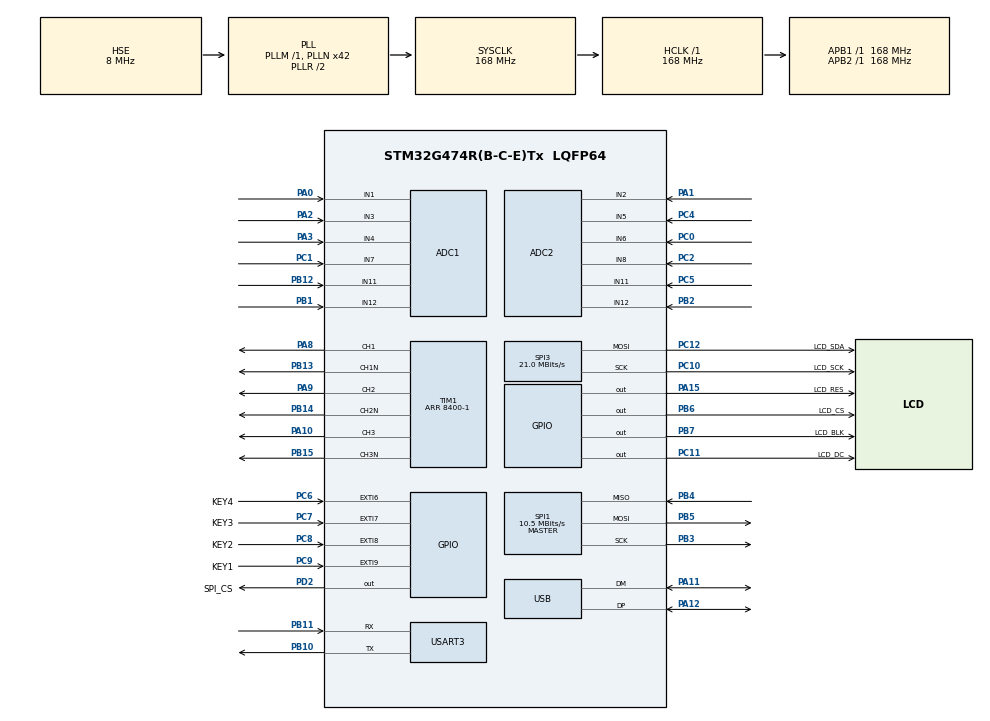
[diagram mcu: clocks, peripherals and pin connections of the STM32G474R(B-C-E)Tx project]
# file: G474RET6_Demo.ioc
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ADC1.Channel-0\#ChannelRegularConversion=ADC_CHANNEL_3
ADC1.Channel-1\#ChannelRegularConversion=ADC_CHANNEL_1
ADC1.Channel-2\#ChannelRegularConversion=ADC_CHANNEL_4
ADC1.Channel-3\#ChannelRegularConversion=ADC_CHANNEL_7
ADC1.Channel-4\#ChannelRegularConversion=ADC_CHANNEL_12
ADC1.Channel-5\#ChannelRegularConversion=ADC_CHANNEL_11
ADC1.ClockPrescaler=ADC_CLOCK_ASYNC_DIV4
ADC1.ContinuousConvMode=DISABLE
ADC1.DMAAccessModeView=ENABLE
ADC1.DMAContinuousRequests=ENABLE
ADC1.ExternalTrigConv=ADC_EXTERNALTRIG_T2_CC2
ADC1.ExternalTrigConvEdge=ADC_EXTERNALTRIGCONVEDGE_FALLING
ADC1.Mode=ADC_DUALMODE_REGSIMULT
ADC1.NbrOfConversion=6
ADC1.NbrOfConversionFlag=1
ADC1.OffsetNumber-0\#ChannelRegularConversion=ADC_OFFSET_NONE
ADC1.OffsetNumber-1\#ChannelRegularConversion=ADC_OFFSET_NONE
ADC1.OffsetNumber-2\#ChannelRegularConversion=ADC_OFFSET_NONE
ADC1.OffsetNumber-3\#ChannelRegularConversion=ADC_OFFSET_NONE
ADC1.OffsetNumber-4\#ChannelRegularConversion=ADC_OFFSET_NONE
ADC1.OffsetNumber-5\#ChannelRegularConversion=ADC_OFFSET_NONE
ADC1.Rank-0\#ChannelRegularConversion=1
ADC1.Rank-1\#ChannelRegularConversion=2
ADC1.Rank-2\#ChannelRegularConversion=3
ADC1.Rank-3\#ChannelRegularConversion=4
ADC1.Rank-4\#ChannelRegularConversion=5
ADC1.Rank-5\#ChannelRegularConversion=6
ADC1.SamplingTime-0\#ChannelRegularConversion=ADC_SAMPLETIME_2CYCLES_5
ADC1.SamplingTime-1\#ChannelRegularConversion=ADC_SAMPLETIME_2CYCLES_5
ADC1.SamplingTime-2\#ChannelRegularConversion=ADC_SAMPLETIME_2CYCLES_5
ADC1.SamplingTime-3\#ChannelRegularConversion=ADC_SAMPLETIME_2CYCLES_5
ADC1.SamplingTime-4\#ChannelRegularConversion=ADC_SAMPLETIME_2CYCLES_5
ADC1.SamplingTime-5\#ChannelRegularConversion=ADC_SAMPLETIME_2CYCLES_5
ADC1.TwoSamplingDelay=ADC_TWOSAMPLINGDELAY_2CYCLES
ADC1.master=1
ADC2.Channel-0\#ChannelRegularConversion=ADC_CHANNEL_2
ADC2.Channel-1\#ChannelRegularConversion=ADC_CHANNEL_11
ADC2.Channel-2\#ChannelRegularConversion=ADC_CHANNEL_6
ADC2.Channel-3\#ChannelRegularConversion=ADC_CHANNEL_8
ADC2.Channel-4\#ChannelRegularConversion=ADC_CHANNEL_12
ADC2.Channel-5\#ChannelRegularConversion=ADC_CHANNEL_5
ADC2.ClockPrescaler=ADC_CLOCK_ASYNC_DIV4
ADC2.DMAAccessModeView=ENABLE
ADC2.DMAContinuousRequests=DISABLE
ADC2.Mode=ADC_DUALMODE_REGSIMULT
ADC2.NbrOfConversion=6
ADC2.NbrOfConversionFlag=1
ADC2.OffsetNumber-0\#ChannelRegularConversion=ADC_OFFSET_NONE
ADC2.OffsetNumber-1\#ChannelRegularConversion=ADC_OFFSET_NONE
ADC2.OffsetNumber-2\#ChannelRegularConversion=ADC_OFFSET_NONE
ADC2.OffsetNumber-3\#ChannelRegularConversion=ADC_OFFSET_NONE
ADC2.OffsetNumber-4\#ChannelRegularConversion=ADC_OFFSET_NONE
ADC2.OffsetNumber-5\#ChannelRegularConversion=ADC_OFFSET_NONE
ADC2.Rank-0\#ChannelRegularConversion=1
ADC2.Rank-1\#ChannelRegularConversion=2
ADC2.Rank-2\#ChannelRegularConversion=3
ADC2.Rank-3\#ChannelRegularConversion=4
ADC2.Rank-4\#ChannelRegularConversion=5
ADC2.Rank-5\#ChannelRegularConversion=6
ADC2.SamplingTime-0\#ChannelRegularConversion=ADC_SAMPLETIME_2CYCLES_5
ADC2.SamplingTime-1\#ChannelRegularConversion=ADC_SAMPLETIME_2CYCLES_5
ADC2.SamplingTime-2\#ChannelRegularConversion=ADC_SAMPLETIME_2CYCLES_5
ADC2.SamplingTime-3\#ChannelRegularConversion=ADC_SAMPLETIME_2CYCLES_5
ADC2.SamplingTime-4\#ChannelRegularConversion=ADC_SAMPLETIME_2CYCLES_5
ADC2.SamplingTime-5\#ChannelRegularConversion=ADC_SAMPLETIME_2CYCLES_5
ADC2.TwoSamplingDelay=ADC_TWOSAMPLINGDELAY_2CYCLES
Dma.ADC1.0.Direction=DMA_PERIPH_TO_MEMORY
Dma.ADC1.0.EventEnable=DISABLE
Dma.ADC1.0.Instance=DMA1_Channel3
Dma.ADC1.0.MemDataAlignment=DMA_MDATAALIGN_WORD
Dma.ADC1.0.MemInc=DMA_MINC_ENABLE
Dma.ADC1.0.Mode=DMA_CIRCULAR
Dma.ADC1.0.PeriphDataAlignment=DMA_PDATAALIGN_WORD
Dma.ADC1.0.PeriphInc=DMA_PINC_DISABLE
Dma.ADC1.0.Polarity=HAL_DMAMUX_REQ_GEN_RISING
Dma.ADC1.0.Priority=DMA_PRIORITY_HIGH
Dma.ADC1.0.RequestNumber=1
Dma.ADC1.0.SignalID=NONE
Dma.ADC1.0.SyncEnable=DISABLE
Dma.ADC1.0.SyncPolarity=HAL_DMAMUX_SYNC_NO_EVENT
Dma.ADC1.0.SyncRequestNumber=1
Dma.ADC1.0.SyncSignalID=NONE
Dma.Request0=ADC1
Dma.Request1=USART3_TX
Dma.Request2=USART3_RX
Dma.USART3_RX.2.Direction=DMA_PERIPH_TO_MEMORY
Dma.USART3_RX.2.EventEnable=DISABLE
Dma.USART3_RX.2.Instance=DMA1_Channel2
Dma.USART3_RX.2.MemDataAlignment=DMA_MDATAALIGN_BYTE
Dma.USART3_RX.2.MemInc=DMA_MINC_ENABLE
Dma.USART3_RX.2.Mode=DMA_NORMAL
Dma.USART3_RX.2.PeriphDataAlignment=DMA_PDATAALIGN_BYTE
Dma.USART3_RX.2.PeriphInc=DMA_PINC_DISABLE
Dma.USART3_RX.2.Polarity=HAL_DMAMUX_REQ_GEN_RISING
Dma.USART3_RX.2.Priority=DMA_PRIORITY_LOW
Dma.USART3_RX.2.RequestNumber=1
Dma.USART3_RX.2.SignalID=NONE
Dma.USART3_RX.2.SyncEnable=DISABLE
Dma.USART3_RX.2.SyncPolarity=HAL_DMAMUX_SYNC_NO_EVENT
Dma.USART3_RX.2.SyncRequestNumber=1
Dma.USART3_RX.2.SyncSignalID=NONE
Dma.USART3_TX.1.Direction=DMA_MEMORY_TO_PERIPH
Dma.USART3_TX.1.EventEnable=DISABLE
Dma.USART3_TX.1.Instance=DMA1_Channel1
Dma.USART3_TX.1.MemDataAlignment=DMA_MDATAALIGN_BYTE
Dma.USART3_TX.1.MemInc=DMA_MINC_ENABLE
Dma.USART3_TX.1.Mode=DMA_NORMAL
Dma.USART3_TX.1.PeriphDataAlignment=DMA_PDATAALIGN_BYTE
Dma.USART3_TX.1.PeriphInc=DMA_PINC_DISABLE
Dma.USART3_TX.1.Polarity=HAL_DMAMUX_REQ_GEN_RISING
Dma.USART3_TX.1.Priority=DMA_PRIORITY_LOW
Dma.USART3_TX.1.RequestNumber=1
Dma.USART3_TX.1.SignalID=NONE
Dma.USART3_TX.1.SyncEnable=DISABLE
Dma.USART3_TX.1.SyncPolarity=HAL_DMAMUX_SYNC_NO_EVENT
Dma.USART3_TX.1.SyncRequestNumber=1
Dma.USART3_TX.1.SyncSignalID=NONE
FREERTOS.Tasks01=defaultTask,24,128,StartDefaultTask,Default,NULL,Dynamic,NULL,NULL
FREERTOS.configCHECK_FOR_STACK_OVERFLOW=1
FREERTOS.configGENERATE_RUN_TIME_STATS=0
FREERTOS.configTOTAL_HEAP_SIZE=15360
FREERTOS.configUSE_STATS_FORMATTING_FUNCTIONS=1
Mcu.Family=STM32G4
Mcu.Name=STM32G474R(B-C-E)Tx
Mcu.Package=LQFP64
NVIC.DMA1_Channel1_IRQn=true\:5\:0\:false\:false\:true\:false\:false\:true\:true
NVIC.DMA1_Channel2_IRQn=true\:5\:0\:false\:false\:true\:false\:false\:true\:true
NVIC.DMA1_Channel3_IRQn=true\:5\:0\:false\:false\:true\:false\:false\:true\:true
NVIC.EXTI9_5_IRQn=true\:5\:0\:true\:false\:true\:true\:true\:true\:true
NVIC.PriorityGroup=NVIC_PRIORITYGROUP_4
NVIC.TIM6_DAC_IRQn=true\:15\:0\:false\:false\:true\:false\:false\:true\:true
NVIC.TimeBase=TIM6_DAC_IRQn
NVIC.TimeBaseIP=TIM6
NVIC.USART3_IRQn=true\:5\:0\:false\:false\:true\:true\:true\:true\:true
NVIC.USB_LP_IRQn=true\:5\:0\:true\:false\:true\:true\:false\:true\:true
PA0.Mode=IN1-Single-Ended
PA0.Signal=ADC1_IN1
PA1.Mode=IN2-Single-Ended
PA1.Signal=ADC2_IN2
PA10.Signal=S_TIM1_CH3
PA11.Mode=Device
PA11.Signal=USB_DM
PA12.Mode=Device
PA12.Signal=USB_DP
PA13.Mode=Serial_Wire
PA13.Signal=SYS_JTMS-SWDIO
PA14.Mode=Serial_Wire
PA14.Signal=SYS_JTCK-SWCLK
PA15.GPIO_Label=LCD_RES
PA15.Signal=GPIO_Output
PA2.Mode=IN3-Single-Ended
PA2.Signal=ADC1_IN3
PA3.Mode=IN4-Single-Ended
PA3.Signal=ADC1_IN4
PA8.Signal=S_TIM1_CH1
PA9.Signal=S_TIM1_CH2
PB1.Mode=IN12-Single-Ended
PB1.Signal=ADC1_IN12
PB10.Mode=Asynchronous
PB10.Signal=USART3_TX
PB11.Mode=Asynchronous
PB11.Signal=USART3_RX
PB12.Mode=IN11-Single-Ended
PB12.Signal=ADC1_IN11
PB13.Mode=PWM Generation1 CH1 CH1N
PB13.Signal=TIM1_CH1N
PB14.Mode=PWM Generation2 CH2 CH2N
PB14.Signal=TIM1_CH2N
PB15.Mode=PWM Generation3 CH3 CH3N
PB15.Signal=TIM1_CH3N
PB2.Mode=IN12-Single-Ended
PB2.Signal=ADC2_IN12
PB3.Mode=Full_Duplex_Master
PB3.Signal=SPI1_SCK
PB4.Mode=Full_Duplex_Master
PB4.Signal=SPI1_MISO
PB5.Mode=Full_Duplex_Master
PB5.Signal=SPI1_MOSI
PB6.GPIO_FM6=__NULL
PB6.GPIO_Label=LCD_CS
PB6.Signal=GPIO_Output
PB7.GPIO_Label=LCD_BLK
PB7.Signal=GPIO_Output
PC0.Mode=IN6-Single-Ended
PC0.Signal=ADC2_IN6
PC1.Mode=IN7-Single-Ended
PC1.Signal=ADC1_IN7
PC10.GPIO_Label=LCD_SCK
PC10.Mode=TX_Only_Simplex_Unidirect_Master
PC10.Signal=SPI3_SCK
PC11.GPIO_Label=LCD_DC
PC11.Signal=GPIO_Output
PC12.GPIO_Label=LCD_SDA
PC12.Mode=TX_Only_Simplex_Unidirect_Master
PC12.Signal=SPI3_MOSI
PC2.Mode=IN8-Single-Ended
PC2.Signal=ADC2_IN8
PC4.Mode=IN5-Single-Ended
PC4.Signal=ADC2_IN5
PC5.Mode=IN11-Single-Ended
PC5.Signal=ADC2_IN11
PC6.GPIO_Label=KEY4
PC6.GPIO_ModeDefaultEXTI=GPIO_MODE_IT_FALLING
PC6.Signal=GPXTI6
PC7.GPIO_Label=KEY3
PC7.GPIO_ModeDefaultEXTI=GPIO_MODE_IT_FALLING
PC7.Signal=GPXTI7
PC8.GPIO_Label=KEY2
PC8.GPIO_ModeDefaultEXTI=GPIO_MODE_IT_FALLING
PC8.Signal=GPXTI8
PC9.GPIO_Label=KEY1
PC9.GPIO_ModeDefaultEXTI=GPIO_MODE_IT_FALLING
PC9.Signal=GPXTI9
PD2.GPIO_Label=SPI_CS
PD2.GPIO_PuPd=GPIO_PULLDOWN
PD2.GPIO_Speed=GPIO_SPEED_FREQ_MEDIUM
PD2.PinState=GPIO_PIN_RESET
PD2.Signal=GPIO_Output
PF0-OSC_IN.Mode=HSE-External-Oscillator
PF0-OSC_IN.Signal=RCC_OSC_IN
PF1-OSC_OUT.Mode=HSE-External-Oscillator
PF1-OSC_OUT.Signal=RCC_OSC_OUT
ProjectManager.HeapSize=0x200
ProjectManager.StackSize=0x400
ProjectManager.TargetToolchain=MDK-ARM V5.32
RCC.ADC12Freq_Value=168000000
RCC.ADC345Freq_Value=168000000
RCC.AHBFreq_Value=168000000
RCC.APB1Freq_Value=168000000
RCC.APB1TimFreq_Value=168000000
RCC.APB2Freq_Value=168000000
RCC.APB2TimFreq_Value=168000000
RCC.CK48CLockSelection=RCC_USBCLKSOURCE_HSI48
RCC.CortexFreq_Value=168000000
RCC.EXTERNAL_CLOCK_VALUE=12288000
RCC.HCLKFreq_Value=168000000
RCC.HSE_VALUE=8000000
RCC.HSI48_VALUE=48000000
RCC.HSI_VALUE=16000000
RCC.LSE_VALUE=32768
RCC.PLLN=42
RCC.PLLQ=RCC_PLLQ_DIV8
RCC.PLLSourceVirtual=RCC_PLLSOURCE_HSE
RCC.SYSCLKFreq_VALUE=168000000
RCC.SYSCLKSource=RCC_SYSCLKSOURCE_PLLCLK
RCC.USBFreq_Value=48000000
RCC.VCOOutputFreq_Value=336000000
SH.S_TIM1_CH1.0=TIM1_CH1,PWM Generation1 CH1 CH1N
SH.S_TIM1_CH2.0=TIM1_CH2,PWM Generation2 CH2 CH2N
SH.S_TIM1_CH3.0=TIM1_CH3,PWM Generation3 CH3 CH3N
SPI1.BaudRatePrescaler=SPI_BAUDRATEPRESCALER_16
SPI1.CLKPhase=SPI_PHASE_2EDGE
SPI1.CLKPolarity=SPI_POLARITY_HIGH
SPI1.CalculateBaudRate=10.5 MBits/s
SPI1.DataSize=SPI_DATASIZE_16BIT
SPI1.Direction=SPI_DIRECTION_2LINES
SPI1.Mode=SPI_MODE_MASTER
SPI1.VirtualType=VM_MASTER
SPI3.BaudRatePrescaler=SPI_BAUDRATEPRESCALER_8
SPI3.CLKPolarity=SPI_POLARITY_HIGH
SPI3.CalculateBaudRate=21.0 MBits/s
SPI3.DataSize=SPI_DATASIZE_8BIT
SPI3.Direction=SPI_DIRECTION_2LINES
SPI3.Mode=SPI_MODE_MASTER
SPI3.VirtualType=VM_MASTER
TIM1.Channel-PWM\ Generation1\ CH1\ CH1N=TIM_CHANNEL_1
TIM1.Channel-PWM\ Generation2\ CH2\ CH2N=TIM_CHANNEL_2
TIM1.Channel-PWM\ Generation3\ CH3\ CH3N=TIM_CHANNEL_3
TIM1.Channel-PWM\ Generation4\ No\ Output=TIM_CHANNEL_4
TIM1.CounterMode=TIM_COUNTERMODE_CENTERALIGNED1
TIM1.DeadTime=20
TIM1.OCIdleState_1=TIM_OCIDLESTATE_SET
TIM1.OCIdleState_2=TIM_OCIDLESTATE_SET
TIM1.OCIdleState_3=TIM_OCIDLESTATE_SET
TIM1.OCIdleState_4=TIM_OCIDLESTATE_SET
TIM1.OCNIdleState_1=TIM_OCNIDLESTATE_SET
TIM1.OCNIdleState_2=TIM_OCNIDLESTATE_SET
TIM1.OCNIdleState_3=TIM_OCNIDLESTATE_SET
TIM1.PeriodNoDither=8400-1
TIM1.PulseNoDither_4=8500-3
TIM1.TIM_MasterOutputTrigger=TIM_TRGO_UPDATE
TIM1.TIM_MasterSlaveMode=TIM_MASTERSLAVEMODE_ENABLE
TIM2.Channel-PWM\ Generation2\ No\ Output=TIM_CHANNEL_2
TIM2.PeriodNoDither=65535
TIM2.Prescaler=2-1
TIM2.PulseNoDither_2=2
TIM2.TIM_MasterSlaveMode=TIM_MASTERSLAVEMODE_DISABLE
USART3.VirtualMode-Asynchronous=VM_ASYNC
USB_DEVICE.CLASS_NAME_FS=CDC
USB_DEVICE.VirtualMode=Cdc
USB_DEVICE.VirtualModeFS=Cdc_FS
VP_FREERTOS_VS_CMSIS_V2.Mode=CMSIS_V2
VP_SYS_VS_DBSignals.Mode=DisableDeadBatterySignals
VP_SYS_VS_tim6.Mode=TIM6
VP_TIM1_VS_ClockSourceINT.Mode=Internal
VP_TIM1_VS_no_output4.Mode=PWM Generation4 No Output
VP_TIM2_VS_ClockSourceINT.Mode=Internal
VP_TIM2_VS_ClockSourceITR.Mode=TriggerSource_ITR0
VP_TIM2_VS_ControllerModeReset.Mode=Reset Mode
VP_TIM2_VS_no_output2.Mode=PWM Generation2 No Output
VP_USB_DEVICE_VS_USB_DEVICE_CDC_FS.Mode=CDC_FS
board=custom

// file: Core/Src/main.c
/* USER CODE BEGIN Header */
/**
  ******************************************************************************
  * @file           : main.c
  * @brief          : Main program body
  ******************************************************************************
  * @attention
  *
  * Copyright (c) 2024 STMicroelectronics.
  * All rights reserved.
  *
  * This software is licensed under terms that can be found in the LICENSE file
  * in the root directory of this software component.
  * If no LICENSE file comes with this software, it is provided AS-IS.
  *
  ******************************************************************************
  */
/* USER CODE END Header */
#include "main.h"
#include "cmsis_os.h"
#include "adc.h"
#include "dma.h"
#include "spi.h"
#include "tim.h"
#include "usart.h"
#include "usb_device.h"
#include "gpio.h"

/* USER CODE BEGIN Includes */
#include "hw.h"
#include "confgenerator.h"
#include "mcpwm_foc.h"
#include "usart_vofa.h"
#include "enc_mt6816.h"
#include "utils_math.h"
#include "timer.h"
#include "mc_interface.h"
#include "conf_general.h"
#include "eeprom_emul.h"
#include "app_freertos.h"

//#include "EventRecorder.h"
/* USER CODE END Includes */

/* USER CODE BEGIN PV */
extern DMA_HandleTypeDef hdma_adc1;

/* USER CODE END PV */

void SystemClock_Config(void);
void MX_FREERTOS_Init(void);

int main(void)
{

  /* MCU Configuration--------------------------------------------------------*/

  /* Reset of all peripherals, Initializes the Flash interface and the Systick. */
  HAL_Init();

  /* Configure the system clock */
  SystemClock_Config();

  /* USER CODE BEGIN SysInit */
//	EventRecorderInitialize(EventRecordAll, 1U);
//	EventRecorderStart();
  /* USER CODE END SysInit */

  /* Initialize all configured peripherals */
  MX_GPIO_Init();
  MX_DMA_Init();
  MX_ADC1_Init();
  MX_TIM1_Init();
  MX_TIM2_Init();
  MX_USART3_UART_Init();
  MX_ADC2_Init();
  MX_SPI1_Init();
  MX_SPI3_Init();
  /* USER CODE BEGIN 2 */
	timer_init();//TIM5初始化

	HAL_ADCEx_Calibration_Start(&hadc1,ADC_SINGLE_ENDED);
	HAL_ADCEx_Calibration_Start(&hadc2,ADC_SINGLE_ENDED);
	HAL_ADCEx_MultiModeStart_DMA(&hadc1,(uint32_t *)ADC_Value,6);

	__HAL_DMA_DISABLE_IT(&hdma_adc1, DMA_IT_HT);
//	__HAL_DMA_DISABLE_IT(&hdma_adc1, DMA_IT_TC);
	__HAL_DMA_DISABLE_IT(&hdma_adc1, DMA_IT_TE);

//	__HAL_UART_ENABLE_IT(&huart3, UART_IT_IDLE); //使能IDLE中断
//	HAL_UART_Receive_DMA(&huart3,RxBuffer,RXBUFFERSIZE);

  /* USER CODE END 2 */

  /* Init scheduler */
  osKernelInitialize();

  /* Call init function for freertos objects (in cmsis_os2.c) */
  MX_FREERTOS_Init();

  /* Start scheduler */
  osKernelStart();

  /* We should never get here as control is now taken by the scheduler */

  /* Infinite loop */
  while (1)
  {

  }
}

void SystemClock_Config(void)
{
  RCC_OscInitTypeDef RCC_OscInitStruct = {0};
  RCC_ClkInitTypeDef RCC_ClkInitStruct = {0};

  /** Configure the main internal regulator output voltage
  */
  HAL_PWREx_ControlVoltageScaling(PWR_REGULATOR_VOLTAGE_SCALE1_BOOST);

  /** Initializes the RCC Oscillators according to the specified parameters
  * in the RCC_OscInitTypeDef structure.
  */
  RCC_OscInitStruct.OscillatorType = RCC_OSCILLATORTYPE_HSI48|RCC_OSCILLATORTYPE_HSE;
  RCC_OscInitStruct.HSEState = RCC_HSE_ON;
  RCC_OscInitStruct.HSI48State = RCC_HSI48_ON;
  RCC_OscInitStruct.PLL.PLLState = RCC_PLL_ON;
  RCC_OscInitStruct.PLL.PLLSource = RCC_PLLSOURCE_HSE;
  RCC_OscInitStruct.PLL.PLLM = RCC_PLLM_DIV1;
  RCC_OscInitStruct.PLL.PLLN = 42;
  RCC_OscInitStruct.PLL.PLLP = RCC_PLLP_DIV2;
  RCC_OscInitStruct.PLL.PLLQ = RCC_PLLQ_DIV8;
  RCC_OscInitStruct.PLL.PLLR = RCC_PLLR_DIV2;
  if (HAL_RCC_OscConfig(&RCC_OscInitStruct) != HAL_OK)
  {
    Error_Handler();
  }

  /** Initializes the CPU, AHB and APB buses clocks
  */
  RCC_ClkInitStruct.ClockType = RCC_CLOCKTYPE_HCLK|RCC_CLOCKTYPE_SYSCLK
                              |RCC_CLOCKTYPE_PCLK1|RCC_CLOCKTYPE_PCLK2;
  RCC_ClkInitStruct.SYSCLKSource = RCC_SYSCLKSOURCE_PLLCLK;
  RCC_ClkInitStruct.AHBCLKDivider = RCC_SYSCLK_DIV1;
  RCC_ClkInitStruct.APB1CLKDivider = RCC_HCLK_DIV1;
  RCC_ClkInitStruct.APB2CLKDivider = RCC_HCLK_DIV1;

  if (HAL_RCC_ClockConfig(&RCC_ClkInitStruct, FLASH_LATENCY_4) != HAL_OK)
  {
    Error_Handler();
  }
}

void HAL_TIM_PeriodElapsedCallback(TIM_HandleTypeDef *htim)
{
  if (htim->Instance == TIM6) {
    HAL_IncTick();
  }
}

void Error_Handler(void)
{
  __disable_irq();
  while (1)
  {
  }
}

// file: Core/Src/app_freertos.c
/* USER CODE BEGIN Header */
/**
  ******************************************************************************
  * File Name          : app_freertos.c
  * Description        : Code for freertos applications
  ******************************************************************************
  * @attention
  *
  * Copyright (c) 2025 STMicroelectronics.
  * All rights reserved.
  *
  * This software is licensed under terms that can be found in the LICENSE file
  * in the root directory of this software component.
  * If no LICENSE file comes with this software, it is provided AS-IS.
  *
  ******************************************************************************
  */
/* USER CODE END Header */

#include "FreeRTOS.h"
#include "task.h"
#include "main.h"
#include "cmsis_os.h"

/* USER CODE BEGIN Includes */
#include "app_freertos.h"
#include "mcpwm_foc.h"
#include "usart_vofa.h"
#include "enc_mt6816.h"
#include "utils_math.h"
#include "timer.h"
#include "stdio.h"
#include "task.h"
#include "conf_general.h"
#include "mc_interface.h"
#include "terminal.h"
#include "commands.h"
#include "comm_usb.h"
#include "mempools.h"
#include "lcd.h"
/* USER CODE END Includes */

/* USER CODE BEGIN Variables */
uint8_t pcWriteBuffer[512];

osThreadId_t printTaskInfoId;
const osThreadAttr_t task_info_attributes = {
  .name = "printfTaskInfo",
  .priority = (osPriority_t) osPriorityNormal + 1,
  .stack_size = 128 * 4
};

osThreadId_t confgeneralTaskId;
const osThreadAttr_t confgeneralTask_attributes = {
  .name = "confgeneralTask",
  .priority = (osPriority_t) osPriorityNormal + 4,
  .stack_size = 256 * 4
};

osThreadId_t displayTaskId;
const osThreadAttr_t displayTask_attributes = {
  .name = "displayTask",
  .priority = (osPriority_t) osPriorityNormal,
  .stack_size = 256 * 4
};
uint16_t adc_input = 0;
uint32_t LCD_PAGE = 0;
/* USER CODE END Variables */
/* Definitions for defaultTask */
osThreadId_t defaultTaskHandle;
const osThreadAttr_t defaultTask_attributes = {
  .name = "defaultTask",
  .priority = (osPriority_t) osPriorityNormal,
  .stack_size = 128 * 4
};

/* USER CODE BEGIN FunctionPrototypes */
void printTaskInfo(osThreadId_t taskId);
void confgeneralTask(void *argument);
void managerTask(void *argument);
void displayTask(void *argument);
void LCD_ShowFloatS(uint16_t x,uint16_t y,float num,uint16_t fc,uint16_t bc,uint8_t sizey,uint8_t mode);
/* USER CODE END FunctionPrototypes */

void StartDefaultTask(void *argument);

void MX_FREERTOS_Init(void); /* (MISRA C 2004 rule 8.1) */

/* Hook prototypes */
void vApplicationStackOverflowHook(xTaskHandle xTask, signed char *pcTaskName);

/* USER CODE BEGIN 4 */
void vApplicationStackOverflowHook(xTaskHandle xTask, signed char *pcTaskName)
{
   /* Run time stack overflow checking is performed if
   configCHECK_FOR_STACK_OVERFLOW is defined to 1 or 2. This hook function is
   called if a stack overflow is detected. */
}
/* USER CODE END 4 */

void MX_FREERTOS_Init(void) {

  /* Create the thread(s) */
  /* creation of defaultTask */
  defaultTaskHandle = osThreadNew(StartDefaultTask, NULL, &defaultTask_attributes);

  /* USER CODE BEGIN RTOS_THREADS */
  /* add threads, ... */
//	mempools_init();
	conf_general_init();
	mc_interface_init();
	confgeneralTaskId = osThreadNew(confgeneralTask, NULL, &confgeneralTask_attributes);
	printTaskInfoId 	= osThreadNew(printTaskInfo, NULL, &task_info_attributes);
	displayTaskId 		= osThreadNew(displayTask, NULL, &displayTask_attributes);
//	commands_init();
//	comm_usb_init();
  /* USER CODE END RTOS_THREADS */

}

void StartDefaultTask(void *argument)
{
  /* init code for USB_Device */
  MX_USB_Device_Init();
  /* USER CODE BEGIN StartDefaultTask */

  /* Infinite loop */

//	osThreadFlagsWait(0x01,osFlagsWaitAny,osWaitForever);
  for(;;)
  {
//		osThreadFlagsWait(0x01,osFlagsWaitAny,osWaitForever);
		UTILS_LP_FAST(adc_input,ADC_Value[11],0.3f);

		if(m_motor_1.m_state == MC_STATE_RUNNING)
		{
			float duty = (4070.0f - adc_input) / 4070.0f;//* m_motor_1.m_conf->foc_encoder_ratio
			mcpwm_foc_set_duty(duty);
		}
//	float speed_set = (4070 - ADC_Value[11]) / 4070.0f * 8000.0f;
//	mcpwm_foc_set_pid_speed(speed_set);
//	timer_update((motor_all_state_t*)&m_motor_1,0.001f);
//	foc_run_pid_control_speed(1,0.001f,(motor_all_state_t*)&m_motor_1);

		float speed = RADPS2RPM_f(m_motor_1.m_pll_speed);

		vofa_send_data(0,TIM1->CCR1);
		vofa_send_data(1,TIM1->CCR2);
		vofa_send_data(2,TIM1->CCR3);
		vofa_send_data(3,TIM1->CNT);
		vofa_send_data(4,m_motor_1.m_motor_state.phase);
		vofa_send_data(5,m_motor_1.m_phase_now_encoder);
		vofa_send_data(6,m_motor_1.m_motor_state.id_target);
		vofa_send_data(7,m_motor_1.m_motor_state.id);
		vofa_send_data(8,m_motor_1.m_motor_state.iq_target);
		vofa_send_data(9,m_motor_1.m_motor_state.iq);
		vofa_send_data(10,m_motor_1.m_motor_state.vd);
		vofa_send_data(11,m_motor_1.m_motor_state.vq);
		vofa_send_data(12,speed);
//		vofa_send_data(13,m_motor_1.m_speed_pid_set_rpm);
//		vofa_send_data(14,m_motor_1.m_min_rpm_hyst_timer);
//		vofa_send_data(15,m_motor_1.m_phase_now_observer_override);
//		vofa_send_data(16,m_motor_1.m_phase_now_observer);
//		vofa_send_data(17,m_motor_1.m_motor_state.v_alpha);
//		vofa_send_data(18,m_motor_1.m_motor_state.v_beta);
//		vofa_send_data(19,m_motor_1.m_motor_state.va);
//		vofa_send_data(20,m_motor_1.m_motor_state.vb);
//		vofa_send_data(21,m_motor_1.m_motor_state.vc);
//		vofa_send_data(22,m_motor_1.m_observer_state.x1);
//		vofa_send_data(23,m_motor_1.m_observer_state.x2);
//		vofa_send_data(24,m_motor_1.m_currents_adc[0]);
//		vofa_send_data(25,m_motor_1.m_currents_adc[1]);
//		vofa_send_data(26,m_motor_1.m_currents_adc[2]);
//		vofa_send_data(27,ADC_curr_norm_value[0]);
//		vofa_send_data(28,ADC_curr_norm_value[1]);
//		vofa_send_data(29,ADC_curr_norm_value[2]);
//		vofa_send_data(30,ADC_Value[5]);
//		vofa_send_data(31,ADC_Value[6]);
//		vofa_send_data(32,ADC_Value[7]);
//		vofa_send_data(33,m_motor_1.m_motor_state.i_alpha);
//		vofa_send_data(34,m_motor_1.m_motor_state.i_beta);

//		osKernelLock();
		vofa_sendframetail();
//		osKernelUnlock();
    osDelay(1);
  }
  /* USER CODE END StartDefaultTask */
}

/* USER CODE BEGIN Application */
void printTaskInfo(void *argument)
{
/*
	X:running
	B:blockde
	R:ready
	D:deleted
	S:supended
*/
	for(;;){
		osThreadFlagsWait(0x01,osFlagsWaitAny,osWaitForever);
		vTaskList((char *)&pcWriteBuffer);
		usb_printf("Name   State    Priority   Size   Order\n");
		usb_printf("%s",pcWriteBuffer);
		osDelay(10);
		usb_printf("total free heap size:%d\n",xPortGetFreeHeapSize());
		osDelay(10);
	}

}

void displayTask(void *argument)
{
	LCD_Init();//LCD初始化
	LCD_Fill(0,0,LCD_W,LCD_H,BLACK);

	uint32_t old_flag = 0;
	for(;;)
	{
		if(old_flag != LCD_PAGE)
		{
			LCD_Fill(0,0,LCD_W,LCD_H,BLACK);
		}

		old_flag = LCD_PAGE;

		switch(LCD_PAGE)
		{
			case 1:
			{

				LCD_ShowString(10, 5,(uint8_t *)"[MOTOR]", GREEN, BLACK, 32, 0);

				LCD_DrawLine(10, 60, 10, 135, WHITE);
				LCD_DrawLine(230, 60, 230, 135, WHITE);

				LCD_ShowString(20, 60, (uint8_t *)"R       :", WHITE, BLACK, 16, 0);
				LCD_ShowString(20, 80, (uint8_t *)"L       :", WHITE, BLACK, 16, 0);
				LCD_ShowString(20, 100,(uint8_t *)"linkage :", WHITE, BLACK, 16, 0);
				LCD_ShowString(20, 120,(uint8_t *)"gamama  :", WHITE, BLACK, 16, 0);

				LCD_ShowFloatS(100, 60, m_motor_1.m_conf->foc_motor_r, GREEN, BLACK, 16, 0);
				LCD_ShowFloatS(100, 80, m_motor_1.m_conf->foc_motor_l, GREEN, BLACK, 16, 0);
				LCD_ShowFloatS(100, 100, m_motor_1.m_conf->foc_motor_flux_linkage, GREEN, BLACK, 16, 0);
				LCD_ShowFloatS(100, 120, m_motor_1.m_conf->foc_observer_gain, GREEN, BLACK, 16, 0);
				break;

				break;
			}
			default:
				if(m_motor_1.m_state == MC_STATE_OFF)
				{
					LCD_ShowString(10, 5,(uint8_t *)"[READY]", GREEN, BLACK, 32, 0);
				}else
				{
					LCD_ShowString(10, 5,(uint8_t *)"[ RUN ]", GREEN, BLACK, 32, 0);
				}

				LCD_ShowString(130, 5,(uint8_t *)"Vbus:", WHITE, BLACK, 16, 0);
				LCD_ShowFloatNum1(170, 5, m_motor_1.m_motor_state.v_bus, 3, 2, GREEN, BLACK, 16);
				LCD_ShowString(220, 5, (uint8_t *)"V", WHITE, BLACK, 16, 0);

				LCD_ShowString(130, 21,(uint8_t *)"Ibus:", WHITE, BLACK, 16, 0);
				LCD_ShowFloatNum1(170, 21, m_motor_1.m_motor_state.i_bus, 3, 2, GREEN, BLACK, 16);
				LCD_ShowString(220, 21, (uint8_t *)"A", WHITE, BLACK, 16, 0);

				LCD_ShowString(130, 37,(uint8_t *)"Tmos:", WHITE, BLACK, 16, 0);
				LCD_ShowFloatNum1(170, 37, 00.00, 3, 2, GREEN, BLACK, 16);
				LCD_ShowString(220, 37, (uint8_t *)"C", WHITE, BLACK, 16, 0);

				LCD_DrawLine(10, 60, 10, 135, WHITE);
				LCD_DrawLine(230, 60, 230, 135, WHITE);

				LCD_ShowString(20, 40, (uint8_t *)"Mode :", WHITE, BLACK, 16, 0);
				LCD_ShowString(20, 60, (uint8_t *)"Id.  :", WHITE, BLACK, 16, 0);
				LCD_ShowString(20, 80, (uint8_t *)"Iq.  :", WHITE, BLACK, 16, 0);
				LCD_ShowString(20, 100,(uint8_t *)"Duty :", WHITE, BLACK, 16, 0);
				LCD_ShowString(20, 120,(uint8_t *)"Erpm :", WHITE, BLACK, 16, 0);

				LCD_ShowString(76, 40, (uint8_t *)"[Duty]", WHITE, BLACK, 16, 0);

				LCD_ShowFloatNum(68, 60, m_motor_1.m_motor_state.id_target, 3, 2, BRRED, BLACK, 16);
				LCD_ShowString(124, 60, (uint8_t *)"->", WHITE, BLACK, 16, 0);
				LCD_ShowFloatNum(140, 60, m_motor_1.m_motor_state.id, 3, 2, GREEN, BLACK, 16);
				LCD_ShowString(196, 60, (uint8_t *)"A", WHITE, BLACK, 16, 0);

				LCD_ShowFloatNum(68, 80, m_motor_1.m_motor_state.iq_target, 3, 2, GREEN, BLACK, 16);
				LCD_ShowString(124, 80, (uint8_t *)"->", WHITE, BLACK, 16, 0);
				LCD_ShowFloatNum(140, 80,m_motor_1.m_motor_state.iq, 3, 2, GREEN, BLACK, 16);
				LCD_ShowString(196, 80, (uint8_t *)"A", WHITE, BLACK, 16, 0);

				LCD_ShowFloatNum(68, 100, m_motor_1.m_duty_cycle_set * 100, 3, 2, GREEN, BLACK, 16);
				LCD_ShowString(124, 100, (uint8_t *)"->", WHITE, BLACK, 16, 0);
				LCD_ShowFloatNum(140, 100, m_motor_1.m_motor_state.duty_now * 100, 3, 2, GREEN, BLACK, 16);
				LCD_ShowString(196, 100, (uint8_t *)"%", WHITE, BLACK, 16, 0);

				LCD_ShowFloatS(70, 120, m_motor_1.m_pll_speed, GREEN, BLACK, 16, 0);
				LCD_ShowString(196, 120, (uint8_t *)"r/s", WHITE, BLACK, 16, 0);
				break;
		}

		osDelay(10);
	}

}

void confgeneralTask(void *argument)
{
	for(;;)
	{
		osThreadFlagsWait(0x01,osFlagsWaitAny,osWaitForever);
		osThreadSuspend(defaultTaskHandle);
		conf_general_detect_apply_all_foc(10.0f,true,false);
		osThreadResume(defaultTaskHandle);
		osDelay(10);
	}
}

void LCD_ShowFloatS(uint16_t x,uint16_t y,float num,uint16_t fc,uint16_t bc,uint8_t sizey,uint8_t mode)
{
	uint8_t len,temp[10];
  len=sprintf((char *)temp,"%f",num);
	LCD_ShowString(x,y,temp,fc,bc,sizey,mode);
}
/* USER CODE END Application */
